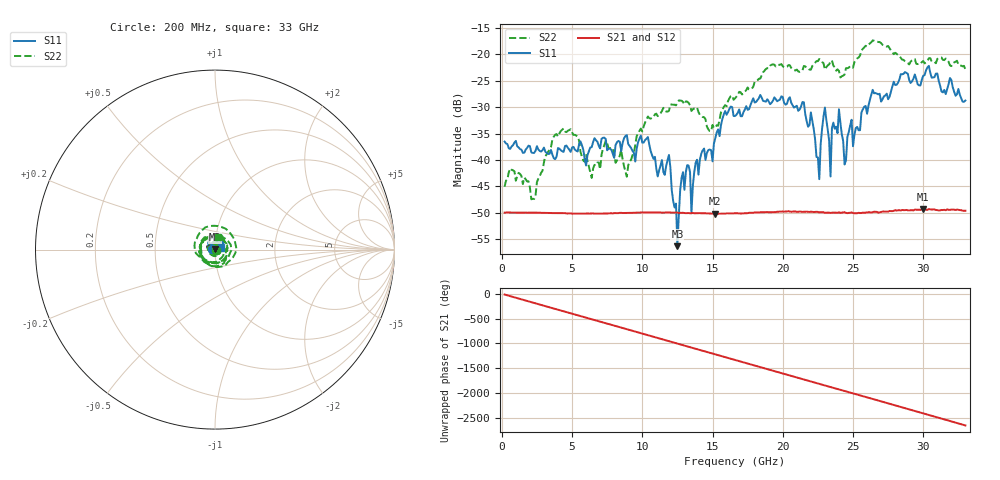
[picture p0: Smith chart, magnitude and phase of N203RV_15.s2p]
# GHZ S RI R 50
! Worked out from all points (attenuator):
!   329 points, 200 MHz to 33 GHz, reference 50 ohm
!   highest |S21| = -49.25 dB at 30 GHz (marker M1); lowest = -50.2 dB at 15.2 GHz (marker M2)
!   lowest |S11| = -56.3 dB at 12.5 GHz (marker M3), VSWR 1.00, Z = 50 + j0.153 ohm
!   |S11| at or under -10 dB: start of sweep to end of sweep
!   |S22| runs from -47.4 to -17.4 dB; largest |S21 - S12| = 7.3e-05
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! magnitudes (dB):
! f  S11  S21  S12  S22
! 200 MHz  -36.5  -50.0  -49.9  -45.1
! 4.4 GHz  -38.5  -50.1  -50.0  -34.0
! 5.7 GHz  -37.2  -50.1  -50.1  -39.3
! 8.9 GHz  -35.3  -50.0  -50.0  -43.2
! 11.2 GHz  -41.9  -49.9  -49.9  -31.4
! 11.9 GHz  -39.1  -50.0  -49.9  -30.7
! 12.5 GHz  -56.3  -49.9  -49.9  -29.2
! 12.9 GHz  -42.3  -50.0  -50.0  -29.0
! 13.5 GHz  -50.1  -50.1  -50.1  -30.7
! 13.8 GHz  -40.5  -50.1  -50.1  -30.2
! 15.2 GHz  -35.8  -50.2  -50.1  -33.9
! 16.6 GHz  -31.7  -50.1  -50.1  -28.3
! 22.1 GHz  -32.6  -49.8  -49.8  -22.2
! 22.6 GHz  -43.6  -49.9  -49.8  -20.9
! 23 GHz  -30.1  -50.0  -50.0  -22.9
! 23.4 GHz  -43.1  -50.0  -50.0  -21.3
! 23.5 GHz  -34.0  -50.0  -50.0  -21.1
! 24 GHz  -30.4  -49.9  -49.9  -23.1
! 24.4 GHz  -40.9  -49.9  -49.9  -23.8
! 27.6 GHz  -28.1  -49.6  -49.7  -18.9
! 30 GHz  -24.0  -49.3  -49.3  -21.3
! 33 GHz  -28.7  -49.6  -49.6  -22.9
